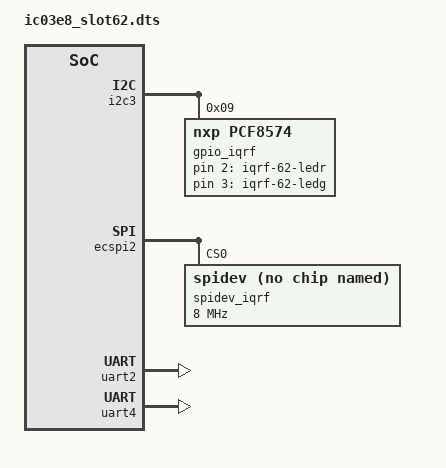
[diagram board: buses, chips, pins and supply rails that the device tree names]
/dts-v1/;


/plugin/;

/ {
	fragment@0 {
		target = <&i2c3>;
		__overlay__ {
			#address-cells = <1>;
			#size-cells = <0>;
			gpio_iqrf: pca9501@9 {
				compatible = "nxp,pcf8574";
				gpio-controller;
				#gpio-cells = <2>;
				reg = <9>;
				gpio-line-names = "SLOT62_IQRF_BTN",
					"SLOT62_IQRF_UART_EN",
					"SLOT62_IQRF_GW_LEDR",
					"SLOT62_IQRF_GW_LEDG",
					"SLOT62_IQRF_SPI_EN",
					"SLOT62_IQRF_I2C_EN",
					"SLOT62_IQRF_SPI_PGM_EN",
					"SLOT62_IQRF_TR_PWR_EN";
			};
		};
	};

	fragment@1 {
		target = <&ecspi2>;
		__overlay__ {
			status = "okay";
			#address-cells = <1>;
			#size-cells = <0>;

			spidev_iqrf: spi@0 {
				compatible = "rohm,dh2228fv";
				reg = <0>;
				status = "okay";
				spi-max-frequency = <8000000>;
			};
		};
	};

	fragment@2 {
		
		target = <&uart2>;
		__overlay__ {
			status = "okay";
		};

	};

	fragment@3 {
		
		target = <&uart4>;
		__overlay__ {
			status = "okay";
		};

	};

	fragment@4 {
		target-path = "/";
		__overlay__ {
			led_slot62 {
				compatible = "gpio-leds";
				iqrf-led@1 {
					label = "iqrf-62-ledr";
					gpios = <&gpio_iqrf 2 0>;
					default-state = "off";
					color = <1>;
				};
				iqrf-led@2 {
					label = "iqrf-62-ledg";
					gpios = <&gpio_iqrf 3 0>;
					default-state = "off";
					color = <2>;
				};
			};
		}; 
	};
};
